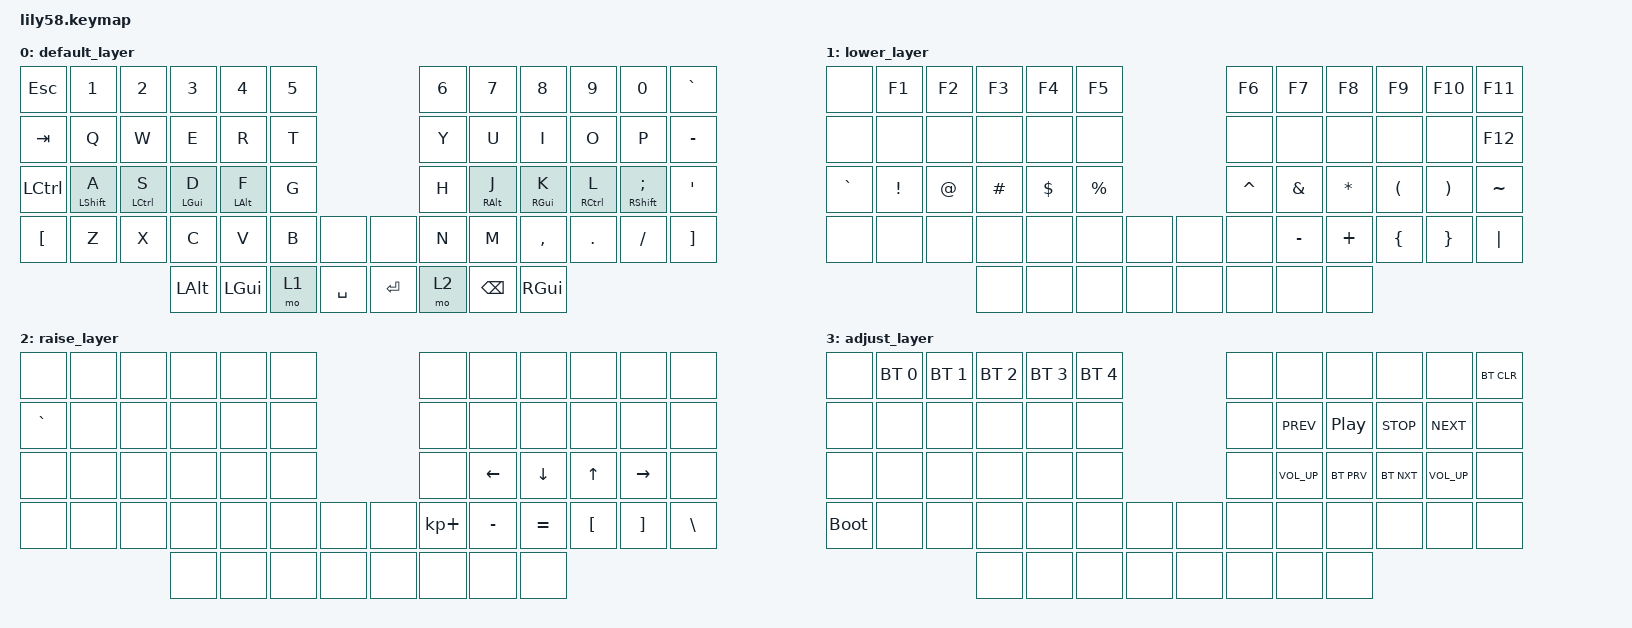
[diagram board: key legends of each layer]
/*
 * Copyright (c) 2020 The ZMK Contributors
 *
 * SPDX-License-Identifier: MIT
 */

#include <behaviors.dtsi>
#include <dt-bindings/zmk/bt.h>
#include <dt-bindings/zmk/keys.h>

/ {
    keymap {
        compatible = "zmk,keymap";

        default_layer {
            // ------------------------------------------------------------------------------------------------------------
            // |  ESC  |  1  |  2  |  3   |  4   |  5   |                   |  6   |  7    |  8    |  9   |   0   |   `   |
            // |  TAB  |  Q  |  W  |  E   |  R   |  T   |                   |  Y   |  U    |  I    |  O   |   P   |   -   |
            // |  CTRL |  A  |  S  |  D   |  F   |  G   |                   |  H   |  J    |  K    |  L   |   ;   |   '   |
            // | SHIFT |  Z  |  X  |  C   |  V   |  B   |   "["  |  |  "]"  |  N   |  M    |  ,    |  .   |   /   | SHIFT |
            //                     | ALT  | GUI  | LOWER|  SPACE |  | ENTER | RAISE| BSPC  | GUI   |

            bindings = <
&kp ESC           &kp N1        &kp N2       &kp N3      &kp N4      &kp N5                        &kp N6  &kp N7      &kp N8      &kp N9       &kp N0          &kp GRAVE
&kp TAB           &kp Q         &kp W        &kp E       &kp R       &kp T                         &kp Y   &kp U       &kp I       &kp O        &kp P           &kp MINUS
&kp LCTRL         &mt LSHIFT A  &mt LCTRL S  &mt LGUI D  &mt LALT F  &kp G                         &kp H   &mt RALT J  &mt RGUI K  &mt RCTRL L  &mt RSHFT SEMI  &kp SQT
&kp LEFT_BRACKET  &kp Z         &kp X        &kp C       &kp V       &kp B   &none        &none    &kp N   &kp M       &kp COMMA   &kp DOT      &kp FSLH        &kp RIGHT_BRACKET
                                             &kp LALT    &kp LGUI    &mo 1   &kp SPACE    &kp RET  &mo 2   &kp BSPC    &kp RGUI
            >;
        };

        lower_layer {
            // ------------------------------------------------------------------------------------------------------------
            // | BTCLR | BT1 | BT2 |  BT3 |  BT4 |  BT5 |                   |      |       |       |      |       |       |
            // |  F1   |  F2 |  F3 |  F4  |  F5  |  F6  |                   |  F7  |  F8   |  F9   |  F10 |  F11  |  F12  |
            // |   `   |  !  |  @  |  #   |  $   |  %   |                   |  ^   |  &    |  *    |  (   |   )   |   ~   |
            // |       |     |     |      |      |      |        |  |       |      |  _    |  +    |  {   |   }   |  "|"  |
            //                     |      |      |      |        |  |       |      |       |       |

            bindings = <
&none      &kp F1    &kp F2  &kp F3    &kp F4      &kp F5                     &kp F6     &kp F7     &kp F8     &kp F9    &kp F10   &kp F11
&none      &none     &none   &none     &none       &none                      &none      &none      &none      &none     &none     &kp F12
&kp GRAVE  &kp EXCL  &kp AT  &kp HASH  &kp DOLLAR  &kp PRCNT                  &kp CARET  &kp AMPS   &kp ASTRK  &kp LPAR  &kp RPAR  &kp TILDE
&none      &none     &none   &none     &none       &none      &none    &none  &none      &kp MINUS  &kp PLUS   &kp LBRC  &kp RBRC  &kp PIPE
                             &none     &none       &none      &none    &none  &none      &none      &none
            >;
        };

        raise_layer {
            // ------------------------------------------------------------------------------------------------------------
            // |       |     |     |      |      |      |                   |      |       |       |      |       |       |
            // |   `   |  1  |  2  |  3   |  4   |  5   |                   |  6   |   7   |   8   |  9   |   0   |       |
            // |   F1  |  F2 |  F3 |  F4  |  F5  |  F6  |                   |      |   <-  |   v   |  ^   |  ->   |       |
            // |   F7  |  F8 |  F9 |  F10 |  F11 |  F12 |        |  |       |  +   |   -   |   =   |  [   |   ]   |   \   |
            //                     |      |      |      |        |  |       |      |       |       |

            bindings = <
&none      &none  &none  &none  &none  &none                  &none        &none      &none      &none     &none      &none
&kp GRAVE  &none  &none  &none  &none  &none                  &none        &none      &none      &none     &none      &none
&none      &none  &none  &none  &none  &none                  &none        &kp LEFT   &kp DOWN   &kp UP    &kp RIGHT  &none
&none      &none  &none  &none  &none  &none  &none    &none  &kp KP_PLUS  &kp MINUS  &kp EQUAL  &kp LBKT  &kp RBKT   &kp BSLH
                         &none  &none  &none  &none    &none  &none        &none      &none
            >;
        };

        adjust_layer {
            bindings = <
&none        &bt BT_SEL 0  &bt BT_SEL 1  &bt BT_SEL 2  &bt BT_SEL 3  &bt BT_SEL 4                  &none  &none         &none             &none       &none            &bt BT_CLR
&none        &none         &none         &none         &none         &none                         &none  &kp C_PREV    &kp C_PLAY_PAUSE  &kp C_STOP  &kp C_NEXT       &none
&none        &none         &none         &none         &none         &none                         &none  &kp C_VOL_UP  &bt BT_PRV        &bt BT_NXT  &kp C_VOLUME_UP  &none
&bootloader  &none         &none         &none         &none         &none         &none    &none  &none  &none         &none             &none       &none            &none
                                         &none         &none         &none         &none    &none  &none  &none         &none
            >;
        };
    };

    conditional_layers {
        compatible = "zmk,conditional-layers";

        AFJUST {
            if-layers = <1 2>;
            then-layer = <3>;
        };
    };
};
